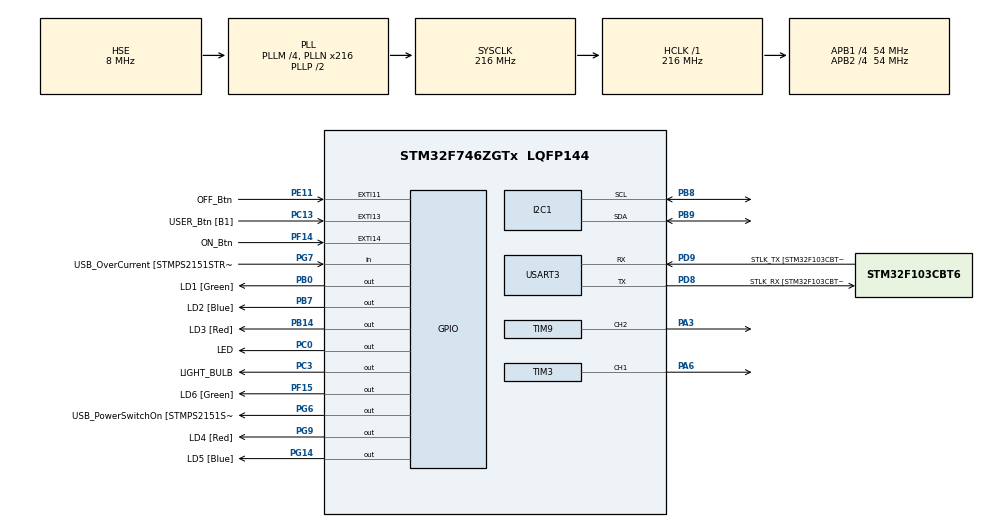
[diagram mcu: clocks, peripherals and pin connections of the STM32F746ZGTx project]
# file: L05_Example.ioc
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I2C1.Timing=0x20404768
Mcu.Family=STM32F7
Mcu.Name=STM32F746ZGTx
Mcu.Package=LQFP144
NVIC.PriorityGroup=NVIC_PRIORITYGROUP_4
NVIC.TIM3_IRQn=true\:0\:0\:false\:false\:true\:true\:true\:true
NVIC.TIM7_IRQn=true\:0\:0\:false\:false\:true\:true\:true\:true
NVIC.USART3_IRQn=true\:0\:0\:false\:false\:true\:true\:true\:true
PA1.GPIO_Label=RMII_REF_CLK [LAN8742A-CZ-TR_REFCLK0]
PA1.Signal=ETH_REF_CLK
PA10.GPIO_Label=USB_ID
PA10.Signal=USB_OTG_FS_ID
PA11.GPIO_Label=USB_DM
PA11.Signal=USB_OTG_FS_DM
PA12.GPIO_Label=USB_DP
PA12.Signal=USB_OTG_FS_DP
PA13.GPIO_Label=TMS
PA13.Mode=Serial_Wire
PA13.Signal=SYS_JTMS-SWDIO
PA14.GPIO_Label=TCK
PA14.Mode=Serial_Wire
PA14.Signal=SYS_JTCK-SWCLK
PA2.GPIO_Label=RMII_MDIO [LAN8742A-CZ-TR_MDIO]
PA2.Signal=ETH_MDIO
PA3.GPIO_PuPd=GPIO_PULLDOWN
PA3.Signal=S_TIM9_CH2
PA6.Signal=S_TIM3_CH1
PA7.GPIO_Label=RMII_CRS_DV [LAN8742A-CZ-TR_CRS_DV]
PA7.Signal=ETH_CRS_DV
PA8.GPIO_Label=USB_SOF [TP1]
PA8.Signal=USB_OTG_FS_SOF
PA9.GPIO_Label=USB_VBUS
PA9.Signal=USB_OTG_FS_VBUS
PB0.GPIO_Label=LD1 [Green]
PB0.Signal=GPIO_Output
PB13.GPIO_Label=RMII_TXD1 [LAN8742A-CZ-TR_TXD1]
PB13.Signal=ETH_TXD1
PB14.GPIO_Label=LD3 [Red]
PB14.Signal=GPIO_Output
PB3.GPIO_Label=SW0
PB3.Signal=SYS_JTDO-SWO
PB7.GPIO_Label=LD2 [Blue]
PB7.Signal=GPIO_Output
PB8.Mode=I2C
PB8.Signal=I2C1_SCL
PB9.Mode=I2C
PB9.Signal=I2C1_SDA
PC0.GPIO_Label=LED
PC0.Signal=GPIO_Output
PC1.GPIO_Label=RMII_MDC [LAN8742A-CZ-TR_MDC]
PC1.Signal=ETH_MDC
PC13.GPIO_Label=USER_Btn [B1]
PC13.Signal=GPXTI13
PC14/OSC32_IN.Mode=LSE-External-Oscillator
PC14/OSC32_IN.Signal=RCC_OSC32_IN
PC15/OSC32_OUT.Mode=LSE-External-Oscillator
PC15/OSC32_OUT.Signal=RCC_OSC32_OUT
PC3.GPIO_Label=LIGHT_BULB
PC3.Signal=GPIO_Output
PC4.GPIO_Label=RMII_RXD0 [LAN8742A-CZ-TR_RXD0]
PC4.Signal=ETH_RXD0
PC5.GPIO_Label=RMII_RXD1 [LAN8742A-CZ-TR_RXD1]
PC5.Signal=ETH_RXD1
PD8.GPIO_Label=STLK_RX [STM32F103CBT6_PA3]
PD8.GPIO_PuPd=GPIO_PULLUP
PD8.Mode=Asynchronous
PD8.Signal=USART3_TX
PD9.GPIO_Label=STLK_TX [STM32F103CBT6_PA2]
PD9.GPIO_PuPd=GPIO_PULLUP
PD9.Mode=Asynchronous
PD9.Signal=USART3_RX
PE11.GPIO_Label=OFF_Btn
PE11.GPIO_PuPd=GPIO_PULLDOWN
PE11.Signal=GPXTI11
PF14.GPIO_Label=ON_Btn
PF14.GPIO_ModeDefaultEXTI=GPIO_MODE_IT_FALLING
PF14.GPIO_PuPd=GPIO_PULLUP
PF14.Signal=GPXTI14
PF15.GPIO_Label=LD6 [Green]
PF15.Signal=GPIO_Output
PG11.GPIO_Label=RMII_TX_EN [LAN8742A-CZ-TR_TXEN]
PG11.Signal=ETH_TX_EN
PG13.GPIO_Label=RMII_TXD0 [LAN8742A-CZ-TR_TXD0]
PG13.Signal=ETH_TXD0
PG14.GPIO_Label=LD5 [Blue]
PG14.Signal=GPIO_Output
PG6.GPIO_Label=USB_PowerSwitchOn [STMPS2151STR_EN]
PG6.Signal=GPIO_Output
PG7.GPIO_Label=USB_OverCurrent [STMPS2151STR_FAULT]
PG7.Signal=GPIO_Input
PG9.GPIO_Label=LD4 [Red]
PG9.Signal=GPIO_Output
PH0/OSC_IN.GPIO_Label=MCO [STM32F103CBT6_PA8]
PH0/OSC_IN.Mode=HSE-External-Clock-Source
PH0/OSC_IN.Signal=RCC_OSC_IN
PH1/OSC_OUT.Mode=HSE-External-Clock-Source
PH1/OSC_OUT.Signal=RCC_OSC_OUT
ProjectManager.HeapSize=0x200
ProjectManager.StackSize=0x400
ProjectManager.TargetToolchain=STM32CubeIDE
RCC.48MHZClocksFreq_Value=24000000
RCC.AHBFreq_Value=216000000
RCC.APB1CLKDivider=RCC_HCLK_DIV4
RCC.APB1Freq_Value=54000000
RCC.APB1TimFreq_Value=108000000
RCC.APB2CLKDivider=RCC_HCLK_DIV4
RCC.APB2Freq_Value=54000000
RCC.APB2TimFreq_Value=108000000
RCC.CortexFreq_Value=216000000
RCC.HCLKFreq_Value=216000000
RCC.HSE_VALUE=8000000
RCC.HSI_VALUE=16000000
RCC.PLLM=4
RCC.PLLMUL=RCC_PLL_MUL9
RCC.PLLN=216
RCC.PLLQ=3
RCC.PLLSourceVirtual=RCC_PLLSOURCE_HSE
RCC.PRESCALERUSB=RCC_USBCLKSOURCE_PLL_DIV1_5
RCC.SYSCLKFreq_VALUE=216000000
RCC.SYSCLKSource=RCC_SYSCLKSOURCE_PLLCLK
RCC.SYSCLKSourceVirtual=RCC_SYSCLKSOURCE_PLLCLK
RCC.USBFreq_Value=144000000
RCC.VCOOutputFreq_Value=432000000
SH.S_TIM3_CH1.0=TIM3_CH1,PWM Generation1 CH1
SH.S_TIM9_CH2.0=TIM9_CH2,PWM Generation2 CH2
TIM3.Channel-PWM\ Generation1\ CH1=TIM_CHANNEL_1
TIM7.Period=19999
TIM7.Prescaler=1079
TIM9.Channel-PWM\ Generation2\ CH2=TIM_CHANNEL_2
TIM9.Period=999
TIM9.Prescaler=107
USART3.VirtualMode-Asynchronous=VM_ASYNC
VP_TIM3_VS_ClockSourceINT.Mode=Internal
VP_TIM7_VS_ClockSourceINT.Mode=Enable_Timer
VP_TIM9_VS_ClockSourceINT.Mode=Internal
board=NUCLEO-F746ZG

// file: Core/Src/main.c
/* USER CODE BEGIN Header */
/**
 ******************************************************************************
 * @file           : main.c
 * @brief          : Main program body
 ******************************************************************************
 * @attention
 *
 * Copyright (c) 2023 STMicroelectronics.
 * All rights reserved.
 *
 * This software is licensed under terms that can be found in the LICENSE file
 * in the root directory of this software component.
 * If no LICENSE file comes with this software, it is provided AS-IS.
 *
 ******************************************************************************
 */
/* USER CODE END Header */
#include "main.h"
#include "i2c.h"
#include "tim.h"
#include "usart.h"
#include "gpio.h"

/* USER CODE BEGIN Includes */
#include <stdio.h>
#include "bh1750_config.h"
/* USER CODE END Includes */

/* USER CODE BEGIN PV */
float Illuminance_lux = 0.0f;
unsigned int Illuminance_lux_Int = 0;
/* USER CODE END PV */

void SystemClock_Config(void);

/* USER CODE BEGIN 0 */
/**
 * @brief  Period elapsed callback in non-blocking mode
 * @param  htim TIM handle
 * @retval None
 */
void HAL_TIM_PeriodElapsedCallback(TIM_HandleTypeDef *htim)
{
  if (htim == &htim7)
  {
    static unsigned int cnt = 0;
    cnt++;
    Illuminance_lux = BH1750_ReadIlluminance_lux(&hbh1750);
    Illuminance_lux_Int = Illuminance_lux * 1000.0f;

    if (cnt == 5)
    {
      uint8_t tx_buffer[32];
      int tx_msg_len = sprintf((char *)tx_buffer, "Illuminance: %5u.%03u\r", Illuminance_lux_Int / 1000, Illuminance_lux_Int % 1000);
      HAL_UART_Transmit(&huart3, tx_buffer, tx_msg_len, 100);
      cnt = 0;
    }
  }
}

/* USER CODE END 0 */

int main(void)
{
  /* USER CODE BEGIN 1 */
  /* */
  /* USER CODE END 1 */

  /* MCU Configuration--------------------------------------------------------*/

  /* Reset of all peripherals, Initializes the Flash interface and the Systick. */
  HAL_Init();

  /* Configure the system clock */
  SystemClock_Config();

  /* Initialize all configured peripherals */
  MX_GPIO_Init();
  MX_USART3_UART_Init();
  MX_I2C1_Init();
  MX_TIM9_Init();
  MX_TIM7_Init();
  MX_TIM3_Init();
  /* USER CODE BEGIN 2 */
  BH1750_Init(&hbh1750);
  HAL_TIM_Base_Start_IT(&htim7);
  HAL_TIM_PWM_Start(&htim3, TIM_CHANNEL_1);

  HAL_GPIO_WritePin(GPIOC, GPIO_PIN_3, SET);

  /* USER CODE END 2 */

  /* Infinite loop */
  /* USER CODE BEGIN WHILE */
  while (1)
  {
    __HAL_TIM_SET_COMPARE(&htim3, TIM_CHANNEL_1, 1000);
    /* USER CODE END WHILE */

  }
}

void SystemClock_Config(void)
{
  RCC_OscInitTypeDef RCC_OscInitStruct = {0};
  RCC_ClkInitTypeDef RCC_ClkInitStruct = {0};

  /** Configure LSE Drive Capability
   */
  HAL_PWR_EnableBkUpAccess();

  /** Configure the main internal regulator output voltage
   */
  __HAL_RCC_PWR_CLK_ENABLE();
  __HAL_PWR_VOLTAGESCALING_CONFIG(PWR_REGULATOR_VOLTAGE_SCALE1);

  /** Initializes the RCC Oscillators according to the specified parameters
   * in the RCC_OscInitTypeDef structure.
   */
  RCC_OscInitStruct.OscillatorType = RCC_OSCILLATORTYPE_HSE;
  RCC_OscInitStruct.HSEState = RCC_HSE_BYPASS;
  RCC_OscInitStruct.PLL.PLLState = RCC_PLL_ON;
  RCC_OscInitStruct.PLL.PLLSource = RCC_PLLSOURCE_HSE;
  RCC_OscInitStruct.PLL.PLLM = 4;
  RCC_OscInitStruct.PLL.PLLN = 216;
  RCC_OscInitStruct.PLL.PLLP = RCC_PLLP_DIV2;
  RCC_OscInitStruct.PLL.PLLQ = 3;
  if (HAL_RCC_OscConfig(&RCC_OscInitStruct) != HAL_OK)
  {
    Error_Handler();
  }

  /** Activate the Over-Drive mode
   */
  if (HAL_PWREx_EnableOverDrive() != HAL_OK)
  {
    Error_Handler();
  }

  /** Initializes the CPU, AHB and APB buses clocks
   */
  RCC_ClkInitStruct.ClockType = RCC_CLOCKTYPE_HCLK | RCC_CLOCKTYPE_SYSCLK | RCC_CLOCKTYPE_PCLK1 | RCC_CLOCKTYPE_PCLK2;
  RCC_ClkInitStruct.SYSCLKSource = RCC_SYSCLKSOURCE_PLLCLK;
  RCC_ClkInitStruct.AHBCLKDivider = RCC_SYSCLK_DIV1;
  RCC_ClkInitStruct.APB1CLKDivider = RCC_HCLK_DIV4;
  RCC_ClkInitStruct.APB2CLKDivider = RCC_HCLK_DIV4;

  if (HAL_RCC_ClockConfig(&RCC_ClkInitStruct, FLASH_LATENCY_7) != HAL_OK)
  {
    Error_Handler();
  }
}

void Error_Handler(void)
{
  __disable_irq();
  while (1)
  {
  }
}
